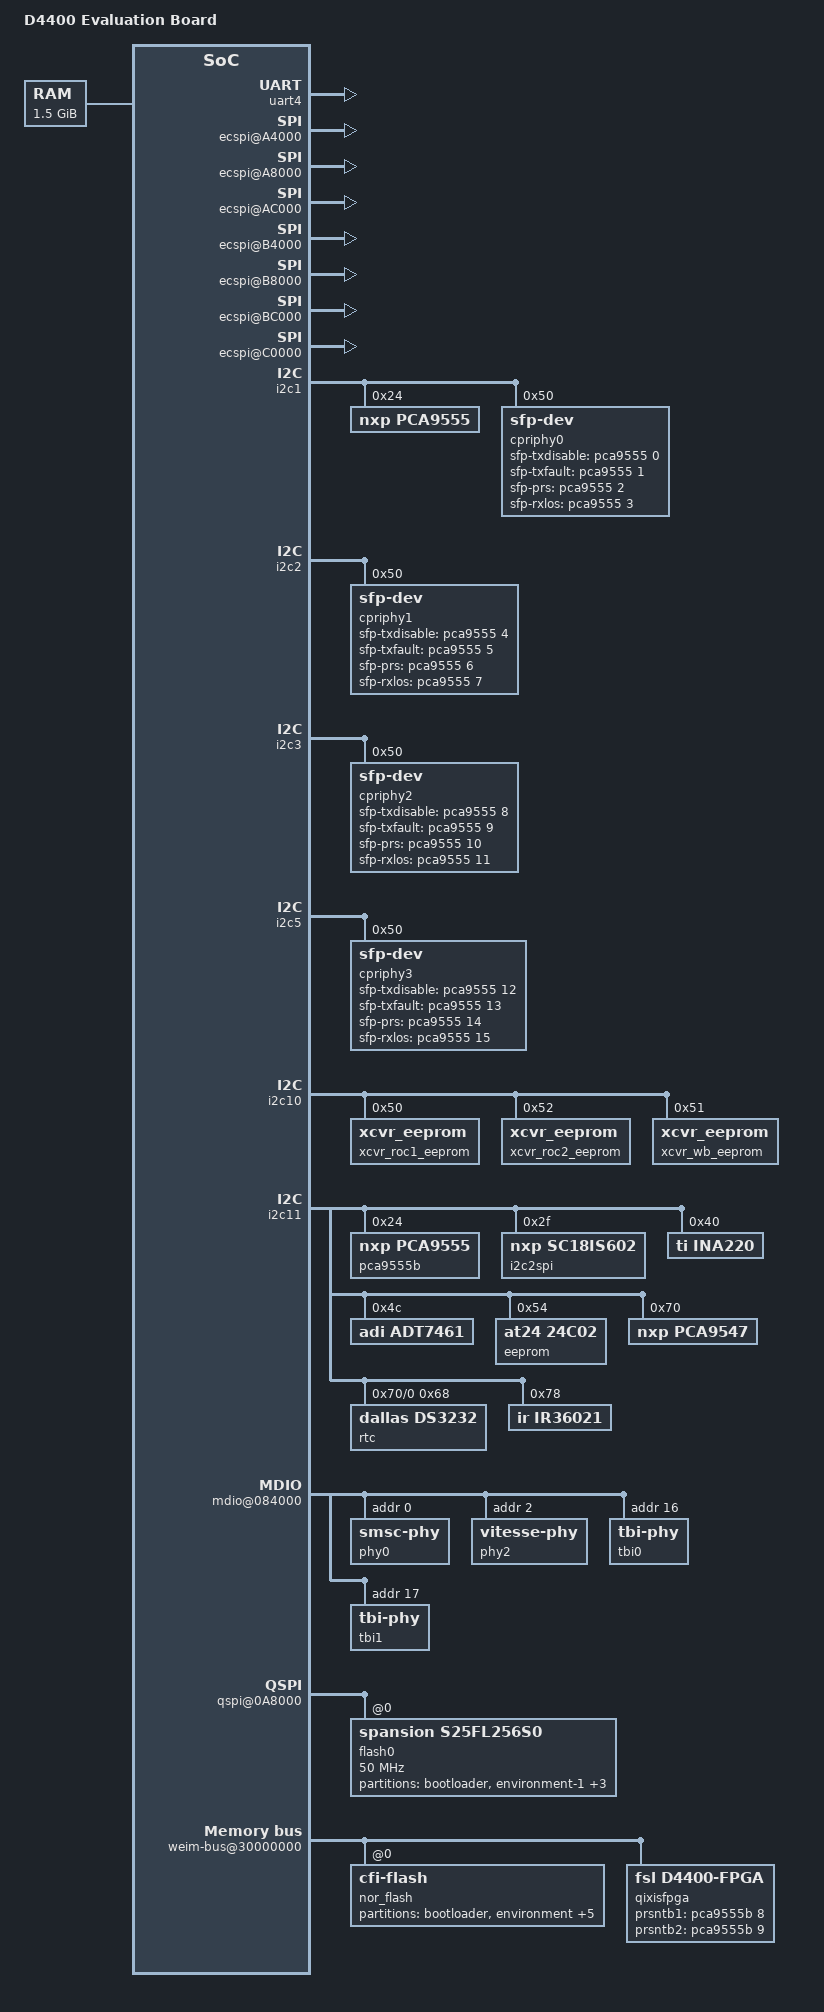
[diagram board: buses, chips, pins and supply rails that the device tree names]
/*
 * Copyright (C) 2013 Freescale Semiconductor, Inc.
 *
 * The code contained herein is licensed under the GNU General Public
 * License. You may obtain a copy of the GNU General Public License
 * Version 2 or later at the following locations:
 *
 * http://www.opensource.org/licenses/gpl-license.html
 * http://www.gnu.org/copyleft/gpl.html
 */
/dts-v1/;

/include/ "d4400.dtsi"

/ {
	model = "D4400 Evaluation Board";
	compatible = "fsl,d4400";

	aliases {
		cpri0ethernet0 = &cp1_framer1;
		cpri0ethernet1 = &cp1_framer2;
		cpri1ethernet0 = &cp2_framer1;
		cpri1ethernet1 = &cp2_framer2;
	};

        memory {
                reg = <0x90000000 0x60000000>;
        };

        soc@0 {
                aips-bus@1000000 { /* AIPS1 */
                        uart4: serial@f8000 {
                                pinctrl-names = "default";
                                pinctrl-0 = <&pinctrl_uart4_1>;
                                status = "okay";
                        };
			ecspi@A4000 {
				#address-cells = <1>;
				#size-cells = <0>;
				status = "okay";
				pinctrl-names = "default";
				pinctrl-0 = <&pinctrl_ecspi1_1>;
				fsl,spi-num-chipselects = <3>;
			};

			ecspi@A8000 {
				#address-cells = <1>;
				#size-cells = <0>;
				status = "okay";
				pinctrl-names = "default";
				pinctrl-0 = <&pinctrl_ecspi2_1>;
				fsl,spi-num-chipselects = <2>;

			};

			ecspi@AC000 {
				#address-cells = <1>;
				#size-cells = <0>;
				status = "okay";
				pinctrl-names = "default";
				pinctrl-0 = <&pinctrl_ecspi3_1>;
				fsl,spi-num-chipselects = <3>;
			};

			ecspi@B4000 {
				#address-cells = <1>;
				#size-cells = <0>;
				status = "okay";
				pinctrl-names = "default";
				pinctrl-0 = <&pinctrl_ecspi5_1>;
				fsl,spi-num-chipselects = <1>;
			};
			ecspi@B8000 {
				#address-cells = <1>;
				#size-cells = <0>;
				status = "okay";
				pinctrl-names = "default";
				pinctrl-0 = <&pinctrl_ecspi6_1>;
				fsl,spi-num-chipselects = <4>;
			};

			ecspi@BC000 {
				#address-cells = <1>;
				#size-cells = <0>;
				status = "okay";
				pinctrl-names = "default";
				pinctrl-0 = <&pinctrl_ecspi7_1>;
				fsl,spi-num-chipselects = <2>;
			};

			ecspi@C0000 {
				#address-cells = <1>;
				#size-cells = <0>;
				status = "okay";
				pinctrl-names = "default";
				pinctrl-0 = <&pinctrl_ecspi8_1>;
				fsl,spi-num-chipselects = <3>;
			};

			i2c1: i2c@C4000 {
				#address-cells = <1>;
				#size-cells = <0>;
				status = "okay";
				pinctrl-names = "default";
				pinctrl-0 = <&pinctrl_i2c1_1>;

				pca9555: pca9555@24 {
					compatible = "nxp,pca9555";
					gpio-controller;
					#gpio-cells = <2>;
					reg = <0x24>;
				};

				cpriphy0: sfp0@50 {
					id = <0>;
					compatible = "sfp-dev";
					reg = <0x50 0x51>;
					max-addr = <0x2>;
					gpio-sfp-txdisable= <&pca9555 0 0>;
					gpio-sfp-txfault = <&pca9555 1 0>;
					gpio-sfp-prs = <&pca9555 2 0>;
					gpio-sfp-rxlos = <&pca9555 3 0>;
					};
			};

			i2c2: i2c@C8000 {
				#address-cells = <1>;
				#size-cells = <0>;
				status = "okay";
				pinctrl-names = "default";
				pinctrl-0 = <&pinctrl_i2c2_1>;

				cpriphy1: sfp1@50 {
					id = <1>;
					compatible = "sfp-dev";
					reg = <0x50 0x51>;
					max-addr = <0x2>;
					gpio-sfp-txdisable= <&pca9555 4 0>;
					gpio-sfp-txfault = <&pca9555 5 0>;
					gpio-sfp-prs = <&pca9555 6 0>;
					gpio-sfp-rxlos = <&pca9555 7 0>;
					};

			};

			i2c3: i2c@CC000 {
				#address-cells = <1>;
				#size-cells = <0>;
				status = "okay";
				pinctrl-names = "default";
				pinctrl-0 = <&pinctrl_i2c3_1>;

				cpriphy2: sfp2@50 {
					id = <2>;
					compatible = "sfp-dev";
					reg = <0x50 0x51>;
					max-addr = <0x2>;
					gpio-sfp-txdisable = <&pca9555 8 0>;
					gpio-sfp-txfault = <&pca9555 9 0>;
					gpio-sfp-prs = <&pca9555 10 0>;
					gpio-sfp-rxlos = <&pca9555 11 0>;
					};

			};

			cpri@0x100000 {
				/* Irq signal from I/O expander */
				sfp-plug-int = <&gpioA 15 0x0>;

				cp1_framer1: framer1@0x0 {
					reg = <0x0 0x8000>;
					framer-id = <0>;
					max-axcs = <24>;
					memblk-size = <0x1800>;
					local-mac-address = [ 00 00 AB CD 21 AB ];
					interrupts = <0 71 0x04>,
						<0 73 0x04>,
						<0 75 0x04>,
						<0 77 0x04>;
					sfp-handle = <&cpriphy0>;
					serdes-handle = <&serdes3 2>;
				};

				cp1_framer2: framer2@0x8000 {
					reg = <0x8000 0x8000>;
					framer-id = <1>;
					max-axcs = <24>;
					memblk-size = <0x1800>;
					local-mac-address = [ 00 00 AB CD 21 CD ];
					interrupts = <0 72 0x4>,
						<0 74 0x4>,
						<0 76 0x4>,
						<0 78 0x4>;
					sfp-handle = <&cpriphy1>;
					serdes-handle = <&serdes3 3>;
				};

			};
                };
                aips-bus@1200000 { /* AIPS2 */
                        #address-cells = <1>;
                        #size-cells = <1>;

			i2c5: i2c@DC000 {
				#address-cells = <1>;
				#size-cells = <0>;
				status = "okay";
				pinctrl-names = "default";
				pinctrl-0 = <&pinctrl_i2c5_1>;

				cpriphy3: sfp3@50 {
					id = <3>;
			      		compatible = "sfp-dev";
					reg = <0x50 0x51>;
					max-addr = <0x2>;
				      	gpio-sfp-txdisable = <&pca9555 12 0>;
				      	gpio-sfp-txfault = <&pca9555 13 0>;
			      		gpio-sfp-prs = <&pca9555 14 0>;
				      	gpio-sfp-rxlos = <&pca9555 15 0>;
			      	};

			};

			i2c10: i2c@F0000 {
				#address-cells = <1>;
				#size-cells = <0>;
				status = "okay";
				pinctrl-names = "default";
				pinctrl-0 = <&pinctrl_i2c10_1>;

				xcvr_roc1_eeprom: eeprom@50 {
					reg = <0x50>;
					compatible = "xcvr_eeprom";
					pagesize = <16>;
					bytesize = <256>;
				};
				xcvr_roc2_eeprom: eeprom@52 {
					reg = <0x52>;
					compatible = "xcvr_eeprom";
					pagesize = <16>;
					bytesize = <256>;
				};
				xcvr_wb_eeprom: eeprom@51 {
					reg = <0x51>;
					compatible = "xcvr_eeprom";
					pagesize = <128>;
					bytesize = <65536>;

				};
			};

			i2c11: i2c@F4000 {
				#address-cells = <1>;
				#size-cells = <0>;
				status = "okay";
				pinctrl-names = "default";
				pinctrl-0 = <&pinctrl_i2c11_1>;


				pca9555b: pca9555@24 {
					compatible = "nxp,pca9555";
					gpio-controller;
					#gpio-cells = <2>;
					reg = <0x24>;
				};

				i2c2spi: sc18is602@2f {
					compatible = "nxp,sc18is602";
					#address-cells = <1>;
					#size-cells = <0>;
					reg = <0x2f>;

					jcpll: ad9525@0 {
						compatible = "adi,ad9525";
						spi-max-frequency = <20000000>;
						reg = <0>;
					};
				};

				ina220@40 {
					compatible = "ti,ina220";
					reg = <0x40>;
					config = <0x04df>;
					shunt-uohms = <1000>;
				};

				adt7461@4c {
					compatible = "adi,adt7461";
					reg = <0x4c>;
				};

				eeprom@54 {
					compatible = "at24,24c02";
					pagesize = <16>;
					reg = <0x54>;
				};

				pca9547: pca9547@70 {
					compatible = "nxp,pca9547";
					reg = <0x70>;
					#address-cells = <1>;
					#size-cells = <0>;

					i2c@0 {
						#address-cells = <1>;
						#size-cells = <0>;
						reg = <0>;

						rtc:rtc@68{
							compatible = "dallas,ds3232";
							reg = <0x68>;
						};

					};
				};

				ir36021@78 {
					compatible = "ir,ir36021";
					reg = <0x78>;
				};
			};

			cpri@0x100000 {

				cp2_framer1: framer1@0x0 {
					reg = <0x0 0x8000>;
					framer-id = <0>;
					max-axcs = <24>;
					memblk-size = <0x1800>;
					local-mac-address = [ 00 00 AB CD 21 EF ];
					interrupts = <0 84 0x04>,
						<0 86 0x04>,
						<0 88 0x04>,
						<0 90 0x04>;
					sfp-handle = <&cpriphy2>;
					serdes-handle = <&serdes3 4>;
		                };

				cp2_framer2: framer2@0x8000 {
					reg = <0x8000 0x8000>;
					framer-id = <1>;
					max-axcs = <24>;
					memblk-size = <0x1800>;
					local-mac-address = [ 00 00 AB CD 22 AB ];
					interrupts = <0 85 0x4>,
						<0 87 0x4>,
						<0 89 0x4>,
						<0 91 0x4>;
					sfp-handle = <&cpriphy3>;
					serdes-handle = <&serdes3 5>;
				};

			};

		};

		aips-bus@4000000 { /* AIPS3 */

                        iomuxc@8c000 {

                                uart4 {
                                        pinctrl_uart4_1: uart4grp-1 {
                                                fsl,pins = <
                                                        350 0x80000000    /* D4400_PAD_UART4_TXD_UART_4_TXD */
                                                        356 0x80000000    /* D4400_PAD_UART4_RXD_UART_4_RXD */
                                                >;
                                        };
                                };
			};

			mdio@084000 {

				phy0: smsc-phy@0 {
					reg = <0>;
					device_type = "ethernet-phy";
				};

				phy2: vitesse-phy@2 {
					reg = <2>;
					device_type = "ethernet-phy";
				};

				tbi0: tbi-phy@10 {
					device_type = "tbi-phy";
					reg = <0x10>;
				};

				tbi1: tbi-phy@11 {
					device_type = "tbi-phy";
					reg = <0x11>;
				};
			};

			qspi@0A8000 {
				flash0: s25fl256s0@0 {
					#address-cells = <1>;
					#size-cells = <1>;
					compatible = "spansion,s25fl256s0";
					spi-max-frequency = <50000000>;
					io-mode = <4>; /* 1-single, 2-dual, 4-quad IO */

					partition@0 {
						/* U-Boot Image-512KB */
						reg = <0x0 0x00080000>;
						label = "bootloader";
						read-only;
					};
					partition@00080000 {
						/* Env variables, 256KB, area 1*/
						reg = <0x000080000 0x00040000>;
						label = "environment-1";
					};
					partition@000C0000 {
						/* Env variables, 256KB, area 2*/
						reg = <0x0000C0000 0x00040000>;
						label = "environment-2";
					};
					partition@00100000 {
						/* U-Boot Redundant Image-512KB */
						reg = <0x00100000 0x00080000>;
						label = "redundant-bootloader";
						read-only;
					};
					partition@00180000 {
						/* 28MB for JFFS2 based Root file System */
						reg = <0x00180000 0x01E80000>;
						label = "filesystem";
					};
				};
			};
		};
                weim-bus@30000000 {
                        nor_flash@0 {
                                compatible = "cfi-flash";
                                bank-width = <2>;
				/* 256MB of NOR Flash memory*/
                                reg = <0x00000000 0x08000000
					0x08000000 0x08000000>;
                                #address-cells = <1>;
                                #size-cells = <1>;
                                status = "okay";

                                partition@0 {
                                        /* This location must not be altered */
                                        /* NOR U-Boot Image-512KB */
                                        reg = <0x0 0x00080000>;
                                        label = "bootloader";
                                        read-only;
                                };
                                partition@00080000 {
                                        /* 128KB of env variables*/
                                        reg = <0x000080000 0x00020000>;
                                        label = "environment";
                                };
                                partition@000A0000 {
                                        /* 128KB of redundant env variables*/
                                        reg = <0x000A0000 0x00020000>;
                                        label = "redundant-environment";
                                };
                                partition@000C0000 {
                                        /* This location must not be altered */
                                        /* U-Boot Redundant Image-512KB */
                                        reg = <0x000C0000 0x00080000>;
                                        label = "bootloader";
                                        read-only;
                                };
                                partition@00140000 {
                                        /* 63 MB for Linux Kernel FIT Image */
                                        reg = <0x00140000 0x03F00000>;
                                        label = "kernel";
                                };
                                partition@04040000 {
                                        /* 63 MB for Linux Kernel FIT Redundant Image */
                                        reg = <0x04040000 0x03F00000>;
                                        label = "kernel";
                                };
                                partition@08000000 {
                                        /* 128MB for JFFS2 based Root file System */
                                        reg = <0x08000000 0x08000000>;
                                        label = "filesystem";
                                };
                    };

                    qixisfpga@10000000 {
                        compatible = "fsl,d4400-fpga";
                        #address-cells = <1>;
                        #size-cells = <1>;
                        status = "okay";
                        reg = <0x10000000 0xFF>;
			gpio-prsntb1 = <&pca9555b 8 0>;
			gpio-prsntb2 = <&pca9555b 9 0>;
			jcpll-handle = <&jcpll>;
                    };
                };

                xcvr_if: xcvr_if@1 {
			compatible = "fsl,xcvr-interface";

			xcvr-roc1 {
				#address-cells = <1>;
				#size-cells = <1>;
				platform-drv-name = "roc_misc_driver";
				/* FMC connector: 0-none, 1-fmc1, 2-fmc2, 3-fmc1 & fmc2 */
				connector-fmc = <1>;
				interrupt-parent = <&gpioA>;
				interrupts = <16 0x04>,
					<17 0x04>;
				id = <1>;
				cs-gpios = <&gpioC 16 0>,
					<&gpioC 18 0>,
					<&gpioC 19 0>;
				tx-reset = <3>;
				rx-reset = <5>;

				eeprom-handle =<&xcvr_roc1_eeprom>;
				ipmi-mfg-str = "Analog Devices";
				ipmi-name-str = "9368-2R1a,9525R0,9368-1R1a",
					"9368-2R1a,9525,9368-1R1a";
			};

			xcvr-roc2 {
				#address-cells = <1>;
				#size-cells = <1>;
				platform-drv-name = "roc_misc_driver";
				/* FMC connector: 0-none, 1-fmc1, 2-fmc2, 3-fmc1 & fmc2 */
				connector-fmc = <2>;
				interrupt-parent = <&gpioA>;
				interrupts = <18 0x04>,
					<19 0x04>;
				id = <2>;
				cs-gpios = <&gpioC 20 0>,
					<&gpioC 22 0>,
					<&gpioC 23 0>;
				tx-reset = <4>;
				rx-reset = <6>;

				eeprom-handle =<&xcvr_roc2_eeprom>;
				ipmi-mfg-str = "Analog Devices";
				ipmi-name-str = "9368-2R1a,9525R0,9368-1R1a",
					"9368-2R1a,9525,9368-1R1a";
			};

			wb-xcvr {
				#address-cells = <1>;
				#size-cells = <1>;
				platform-drv-name = "wb_misc_driver";
				/* FMC connector: 0-none, 1-fmc1, 2-fmc2, 3-fmc1 & fmc2 */
				connector-fmc = <3>;

				tx-reset = <4>;
				output-gpios = <&gpioC 22 0>,
					<&gpioC 23 0>,
					<&gpioC 16 0>,
					<&gpioC 17 0>,
					<&gpioC 18 0>,
					<&gpioC 19 0>,
					<&gpioD 6 0>,
					<&gpioC 7 0>;

				input-gpios = <&gpioC 8 0>,
					<&gpioC 9 0>,
					<&gpioC 10 0>,
					<&gpioC 11 0>,
					<&gpioA 22 0>,
					<&gpioA 23 0>,
					<&gpioA 20 0>,
					<&gpioA 21 0>;

				ad9680-spi-pins = <&gpioE 2 0>,
					<&gpioD 24 0>,
					<&gpioD 25 0>;

				eeprom-handle =<&xcvr_wb_eeprom>;
				ipmi-mfg-str = "Freescale";
				ipmi-name-str = "FSL Wideband transceiver R1.00";
			};

			wb2-xcvr {  /* 2.5GHz and 3.5GHz */
				#address-cells = <1>;
				#size-cells = <1>;
				platform-drv-name = "wb2_misc_driver";
				/* FMC connector: 0-none, 1-fmc1, 2-fmc2, 3-fmc1 & fmc2 */
				connector-fmc = <3>;

				tx-reset = <4>;
				output-gpios =
					<&gpioC 22 0>,
					<&gpioC 23 0>,
					<&gpioC 16 0>,
					<&gpioC 17 0>,
					<&gpioC 18 0>,
					<&gpioC 19 0>,
					<&gpioD 6 0>,
					<&gpioA 17 0>;

				input-gpios = <&gpioC 8 0>,
					<&gpioC 9 0>,
					<&gpioC 10 0>,
					<&gpioC 11 0>,
					<&gpioA 22 0>,
					<&gpioA 23 0>,
					<&gpioA 20 0>,
					<&gpioA 21 0>;

				ad9680-spi-pins =
					<&gpioE 2 0>,  /* sdio, spi2, 199 */
					<&gpioD 24 0>, /* sclk, spi2, 206 */
					<&gpioD 25 0>; /* ss0, spi2, 209 */

				/* PE43711 digital attenuator devices need extra pulse on LE signal */
				pe43711-ss-spi-pins =
					<&gpioD 30 0>, /* spi5 SRX ss0-256, gpioD_30-257 */
					<&gpioE 17 0>, /* spi7 TX1 ss0-295, gpioE_17-296 */
					<&gpioE 21 0>; /* spi8 TX2 ss0-316, gpioE_21-317 */

				/* LMX2492 PLL LO devices need extra pulse on LE signal */
				lmx2492-ss-spi-pins =
					<&gpioE 13 0>, /* spi6 DCC LO ss0-275, gpioE_13-276 */
					<&gpioE 27 0>, /* spi6 TX LO  ss1-279, gpioE_27-280 */
					<&gpioA 26 0>; /* spi6 SRX LO ss2-603, gpioA_26-602 */

				eeprom-handle =<&xcvr_wb_eeprom>;
				ipmi-mfg-str = "NXP";
				ipmi-name-str =
					"NXP Wideband2 2.5GHz R1.00",
					"NXP Wideband2 3.5GHz R1.00";
			};

                };

        };

	landshark@0xc000000 { /* LandShark */
		compatible = "fsl,landshark";
		address = <0xc0000000>;
		length = <0x10000000>;
		status = "okay";
	};
};

